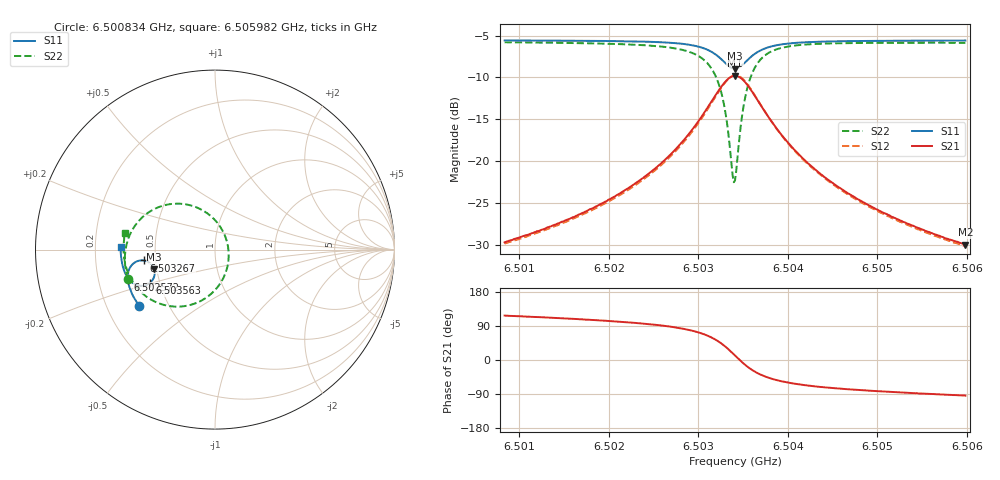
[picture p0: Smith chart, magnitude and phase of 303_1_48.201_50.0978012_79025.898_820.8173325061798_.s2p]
#  HZ  S  RI  R  50.00
! Rohde & Schwarz Vector Network Analyzer
! Rohde-Schwarz,ZNB20-2Port,1311601062101988,3.16
! Created: UTC 3/20/2024, 11:49:39 AM
! freq[Hz]  re:S11  im:S11  re:S21  im:S21  re:S12  im:S12  re:S22  im:S22
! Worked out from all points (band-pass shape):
!   401 points, 6.500834 GHz to 6.505982 GHz, reference 50 ohm
!   highest |S21| = -9.80 dB at 6.503408 GHz (marker M1); lowest = -30.0 dB at 6.505982 GHz (marker M2)
!   |S21| within 3 dB of the highest: 6.503151 GHz to 6.503665 GHz (514.4 kHz wide, 0.00791 % of centre)
!   lowest |S11| = -9.0 dB at 6.503408 GHz (marker M3), VSWR 2.11, Z = 24.2 - j6.08 ohm
!   |S11| at or under -10 dB: nowhere
!   |S22| runs from -22.5 to -5.8 dB; largest |S21 - S12| = 0.011
!   S11 on the Smith chart (normalised r, x): 6.500834 GHz: 0.34, -0.30; 6.502572 GHz: 0.33, -0.15; 6.503267 GHz: 0.43, -0.06; 6.503563 GHz: 0.44, -0.20; 6.505982 GHz: 0.31, +0.01
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6.5008342e9  -0.4209 -0.3164  -0.0149 0.029  -0.0133 0.0292  -0.4865 -0.1646
6.5016965e9  -0.4587 -0.2536  -0.0145 0.0465  -0.0121 0.0461  -0.5015 -0.0746
6.5021855e9  -0.4763 -0.2109  -0.0115 0.0664  -0.00848 0.0652  -0.4991 -0.00639
6.5025587e9  -0.4855 -0.1703  -0.00301 0.0945  0.000649 0.0922  -0.4812 0.0665
6.5025716e9  -0.4857 -0.1687  -0.00243 0.0958  0.00115 0.0935  -0.4801 0.0694
6.5028161e9  -0.4851 -0.1336  0.0156 0.1288  0.0195 0.1251  -0.4418 0.1389
6.5029963e9  -0.4737 -0.1003  0.0502 0.1648  0.0534 0.1594  -0.3739 0.2048
6.5031636e9  -0.4392 -0.0673  0.1273 0.1978  0.1285 0.1913  -0.2323 0.2553
6.5032666e9  -0.3968 -0.0604  0.212 0.1887  0.2124 0.1836  -0.0848 0.2273
6.503318e9  -0.3716 -0.0692  0.2598 0.1609  0.2607 0.1563  -0.00531 0.1701
6.5033824e9  -0.3453 -0.0952  0.3069 0.0979  0.3094 0.093  0.0653 0.0489
6.5034081e9  -0.3392 -0.1097  0.3169 0.0662  0.3199 0.0604  0.0758 -0.0104
6.503421e9  -0.3373 -0.1173  0.3195 0.0497  0.3226 0.0432  0.0763 -0.0406
6.5034982e9  -0.3433 -0.1615  0.3025 -0.0437  0.3043 -0.0534  0.0187 -0.2034
6.5035626e9  -0.3643 -0.1867  0.2602 -0.0969  0.259 -0.1079  -0.0764 -0.2845
6.5036655e9  -0.4032 -0.2016  0.1868 -0.1323  0.1815 -0.1415  -0.2238 -0.3177
6.5038328e9  -0.4487 -0.1917  0.1067 -0.1295  0.0998 -0.1343  -0.3683 -0.2714
6.504013e9  -0.4756 -0.1705  0.0628 -0.1098  0.057 -0.1119  -0.439 -0.2075
6.5042704e9  -0.4962 -0.1404  0.0335 -0.086  0.0288 -0.0864  -0.4817 -0.1362
6.5046307e9  -0.511 -0.1032  0.0156 -0.0644  0.0122 -0.064  -0.503 -0.0659
6.5051327e9  -0.5211 -0.057  0.00499 -0.0471  0.00273 -0.0465  -0.5098 0.00399
6.5059821e9  -0.5258 0.0146  -0.00221 -0.0315  -0.0034 -0.0308  -0.5016 0.0923
